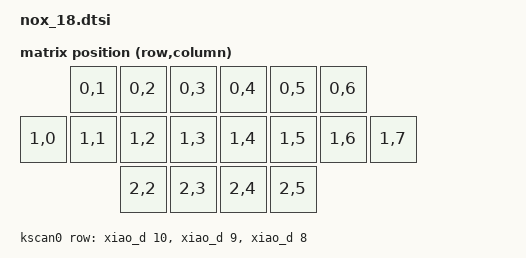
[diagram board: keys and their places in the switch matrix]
#include <dt-bindings/zmk/matrix_transform.h>

/ {
    chosen {
        zmk,kscan = &kscan0;
        zmk,matrix-transform = &default_transform;
    };

    default_transform: keymap_transform_0 {
        compatible = "zmk,matrix-transform";
        columns = <8>;
        rows = <3>;
//     | 3 | 2 | 1 |    | 1 | 2 | 3 |
// | 7 | 6 | 5 | 4 |    | 4 | 5 | 6 | 7 |
//         | 9 | 8 |    | 8 | 9 |
        map = <
         RC(0, 1) RC(0, 2) RC(0, 3)     RC(0, 4) RC(0, 5) RC(0, 6)
RC(1, 0) RC(1, 1) RC(1, 2) RC(1, 3)     RC(1, 4) RC(1, 5) RC(1, 6) RC(1, 7)
                  
                  RC(2, 2) RC(2, 3)     RC(2, 4) RC(2, 5)
        >;
    };

    kscan0: kscan {
        compatible = "zmk,kscan-gpio-matrix";
        diode-direction = "col2row";
        wakeup-source;

        row-gpios
            = <&xiao_d 10 (GPIO_ACTIVE_HIGH | GPIO_PULL_DOWN)> // top row
            , <&xiao_d  9 (GPIO_ACTIVE_HIGH | GPIO_PULL_DOWN)> // home row
            , <&xiao_d  8 (GPIO_ACTIVE_HIGH | GPIO_PULL_DOWN)> // thumb row
            ;
    };

    default_layout: default_layout {
        compatible = "zmk,physical-layout";
        display-name = "Default Layout";
        transform = <&default_transform>;
        kscan = <&kscan0>;
    };
};

